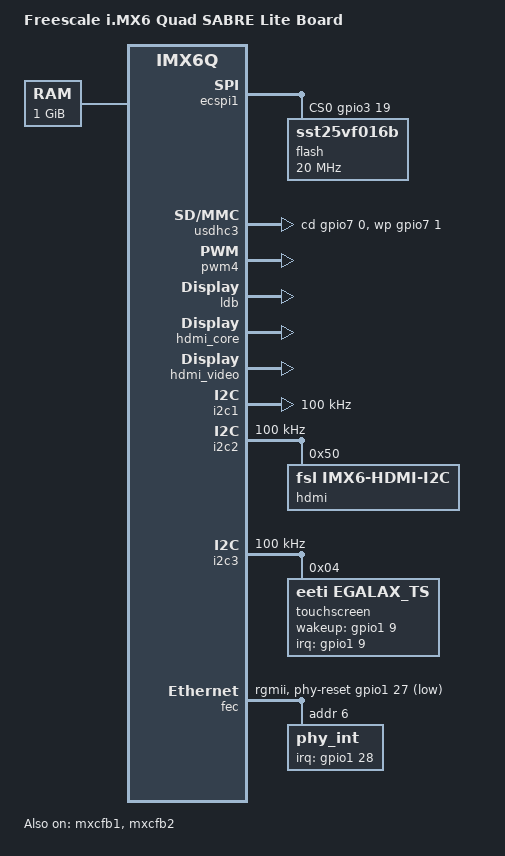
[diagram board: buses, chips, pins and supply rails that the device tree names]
/*
 * Copyright (C) 2014 Institut de Recherche Technologique SystemX and OpenWide.
 *
 * This program is free software; you can redistribute it and/or modify
 * it under the terms of the GNU General Public License as published by
 * the Free Software Foundation; either version 2, or (at your option)
 * any later version.
 *
 * This program is distributed in the hope that it will be useful,
 * but WITHOUT ANY WARRANTY; without even the implied warranty of
 * MERCHANTABILITY or FITNESS FOR A PARTICULAR PURPOSE.  See the
 * GNU General Public License for more details.
 *
 * You should have received a copy of the GNU General Public License
 * along with this program; if not, write to the Free Software
 * Foundation, Inc., 675 Mass Ave, Cambridge, MA 02139, USA.
 *
 * @file sabrelite.dtsi
 * @author Jimmy Durand Wesolowski (jimmy.durand-wesolowski@openwide.fr)
 * @brief Sabrelite-specific device tree definitions.
 */

#include "../imx6q.dtsi"

/ {
	#address-cells = <0x1>;
	#size-cells = <0x1>;
	model = "Freescale i.MX6 Quad SABRE Lite Board";
	compatible = "fsl,imx6q-sabrelite", "fsl,imx6q";

	memory {
		device_type = "memory";
		reg = <0x10000000 0x40000000>; /* 1 GB */
	};
};

&ecspi1 {
	#address-cells = <1>;
	#size-cells = <0>;

	fsl,spi-num-chipselects = <1>;
	cs-gpios = <&gpio3 19 0>;
	pinctrl-names = "default";
	pinctrl-0 = <&pinctrl_ecspi1_1>;
	status = "okay";

	flash: m25p80@0 {
		compatible = "sst25vf016b";
		spi-max-frequency = <20000000>;
		reg = <0>;
	};
};

&usdhc3 {
	pinctrl-names = "default";
	pinctrl-0 = <&pinctrl_usdhc3_2>;
	cd-gpios = <&gpio7 0 0>;
	wp-gpios = <&gpio7 1 0>;
	/* vmmc-supply = <&reg_3p3v>; */
	status = "okay";
};

&pwm4 {
	pinctrl-names = "default";
	pinctrl-0 = <&pinctrl_pwm4>;
	status = "okay";
};

&ldb {
	ipu_id = <0>;
	disp_id = <0>;
	ext_ref = <1>;
	mode = "sin0";
	sec_ipu_id = <1>;
	sec_disp_id = <1>;
	status = "okay";
};

&hdmi_core {
	status = "okay";
	ipu_id = <1>;
	disp_id = <0>;
};

&hdmi_video {
	status = "okay";
	fsl,phy_reg_vlev = <0x0294>;
	fsl,phy_reg_cksymtx = <0x800d>;
};

&mxcfb1 {
	status = "okay";
	interface_pix_fmt = "RGB666";
	default_bpp = <16>;
	mode_str = "LDB-XGA";
};

&mxcfb2 {
	status = "okay";
	interface_pix_fmt = "RGB24";
	default_bpp = <16>;
	mode_str = "";
};

&i2c1 {
	status = "okay";
	clock-frequency = <100000>;
	pinctrl-names = "default";
	pinctrl-0 = <&pinctrl_i2c1_1>;
};

&i2c2 {
	status = "okay";
	clock-frequency = <100000>;
	pinctrl-names = "default";
	pinctrl-0 = <&pinctrl_i2c2_2>;
	hdmi: edid@50 {
		compatible = "fsl,imx6-hdmi-i2c";
		reg = <0x50>;
	};
};

&i2c3 {
	status = "okay";
	clock-frequency = <100000>;
	pinctrl-names = "default";
	pinctrl-0 = <&pinctrl_i2c3_3>;

	touchscreen: egalax_ts@4 {
		compatible = "eeti,egalax_ts";
		reg = <0x04>;
		interrupt-parent = <&gpio1>;
		interrupts = <9 2>;
		wakeup-gpios = <&gpio1 9 0>;
	};
};

&fec {
	status = "okay";
	pinctrl-names = "default";
	pinctrl-0 = <&pinctrl_enet_4>;
	phy-mode = "rgmii";
	phy-reset-gpios = <&gpio1 27 0>;
	txen-skew-ps = <0>;
	txc-skew-ps = <3000>;
	rxdv-skew-ps = <0>;
	rxc-skew-ps = <3000>;
	rxd0-skew-ps = <0>;
	rxd1-skew-ps = <0>;
	rxd2-skew-ps = <0>;
	rxd3-skew-ps = <0>;
	txd0-skew-ps = <0>;
	txd1-skew-ps = <0>;
	txd2-skew-ps = <0>;
	txd3-skew-ps = <0>;
	#address-cells = <0>;
	#size-cells = <1>;
	phy_int {
		reg = <0x6>;
		interrupt-parent = <&gpio1>;
		interrupts = <28 /* IRQ_TYPE_LEVEL_LOW */>;
	};
};

&iomuxc {
	pinctrl-names = "default";
	pinctrl-0 = <&pinctrl_hog_1>;

	imx6q-nitrogen6x {
		pinctrl_hog_1: hoggrp-1 {
			fsl,pins = <
                                /* Power Button */
                                MX6QDL_PAD_NANDF_D3__GPIO2_IO03         0x1b0b0
                                /* Menu Button */
                                MX6QDL_PAD_NANDF_D1__GPIO2_IO01         0x1b0b0
                                /* Home Button */
                                MX6QDL_PAD_NANDF_D4__GPIO2_IO04         0x1b0b0
                                /* Back Button */
                                MX6QDL_PAD_NANDF_D2__GPIO2_IO02         0x1b0b0
                                /* Volume Up Button */
                                MX6QDL_PAD_GPIO_18__GPIO7_IO13          0x1b0b0
                                /* Volume Down Button */
                                MX6QDL_PAD_GPIO_19__GPIO4_IO05          0x1b0b0
                                MX6QDL_PAD_EIM_D19__GPIO3_IO19          0x80000000      /* spi-nor CS */
                                MX6QDL_PAD_EIM_D22__GPIO3_IO22          0x80000000      /* otg power en */
                                MX6QDL_PAD_ENET_RXD0__GPIO1_IO27        0x0f0b0         /* ethernet phy reset */
                                MX6QDL_PAD_ENET_TX_EN__GPIO1_IO28       0x1b0b0         /* ethernet phy interrupt */
                                MX6QDL_PAD_SD3_DAT5__GPIO7_IO00         0x80000000      /* USDHC3 CD */
                                MX6QDL_PAD_SD3_DAT4__GPIO7_IO01         0x1f0b0         /* Spare */
                                MX6QDL_PAD_NANDF_D6__GPIO2_IO06         0x80000000      /* uSDHC4 CD */
                                MX6QDL_PAD_NANDF_D7__GPIO2_IO07         0x80000000      /* Spare */
                                MX6QDL_PAD_GPIO_0__CCM_CLKO1            0x000b0         /* SGTL5000 sys_mclk */
                                MX6QDL_PAD_GPIO_2__GPIO1_IO02           0x80000000      /* CAN standby */
                                MX6QDL_PAD_GPIO_4__GPIO1_IO04           0x80000000      /* Spare */
                                MX6QDL_PAD_GPIO_9__GPIO1_IO09           0x80000000      /* I2C3 touch screen interrupt */
                                MX6QDL_PAD_NANDF_WP_B__GPIO6_IO09       0x0b0b0         /* ov5640 mipi powerdown */
                                MX6QDL_PAD_NANDF_D5__GPIO2_IO05         0x000b0         /* ov5640 mipi reset */
                                MX6QDL_PAD_GPIO_3__CCM_CLKO2            0x000b0         /* ov5642 mclk */
                                MX6QDL_PAD_GPIO_6__GPIO1_IO06           0x000b0         /* ov5642 Power Down */
                                MX6QDL_PAD_GPIO_8__GPIO1_IO08           0x000b0         /* ov5642 Reset */
                                MX6QDL_PAD_GPIO_17__GPIO7_IO12          0x0b0b0         /* USB Hub Reset */
                                MX6QDL_PAD_NANDF_CS1__GPIO6_IO14        0x100b0         /* wl12xx_wl_irq */
                                MX6QDL_PAD_NANDF_CS3__GPIO6_IO16        0x000b0         /* wl12xx_bt_en */
                                /*MX6QDL_PAD_SD1_CLK__OSC32K_32K_OUT      0x000b0*/         /* TiWi slow clock */
                                MX6QDL_PAD_NANDF_CLE__GPIO6_IO07        0x1b0b0         /* ISL1208 interrupt */

			>;
		};
	};

};
